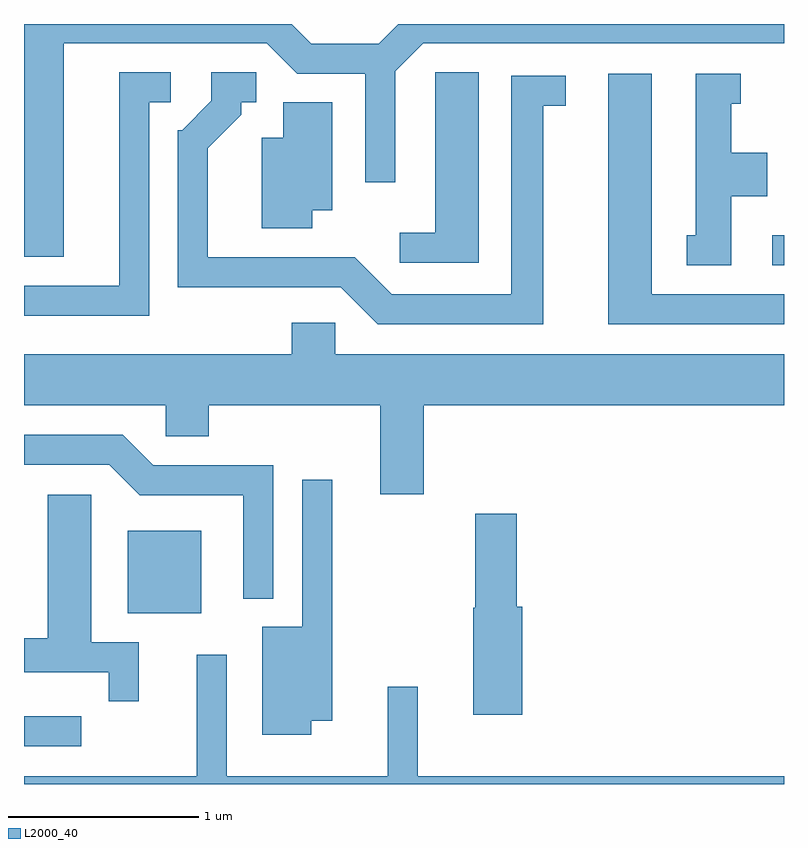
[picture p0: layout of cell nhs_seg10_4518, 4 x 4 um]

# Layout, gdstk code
import gdstk
lib = gdstk.Library(unit=1e-6, precision=1e-09)
def R(c, l, rs):  # rectangles x0, y0, x1, y1
    for r in rs: c.add(gdstk.rectangle(r[:2], r[2:], *l))
def P(c, l, *ps):  # polygons
    for p in ps: c.add(gdstk.Polygon(p, *l))
L2000_40 = (2000, 40)

nhs_seg10_4518 = lib.new_cell('nhs_seg10_4518')
R(nhs_seg10_4518, L2000_40, [(317.611,2178.721,317.913,2178.879), (318.156,2179.421,318.544,2179.854), (321.548,2181.251,321.611,2181.409)])
P(nhs_seg10_4518, L2000_40, [(317.819,2182.421),(318.889,2182.421),(319.049,2182.261),(319.406,2182.261),(319.406,2181.688),(319.564,2181.688),(319.564,2182.274),(319.712,2182.421),(321.611,2182.421),(321.611,2182.522),(319.582,2182.522),(319.479,2182.419),(319.122,2182.419),(319.019,2182.522),(317.611,2182.522),(317.611,2181.296),(317.819,2181.296)],
  [(318.269,2182.111),(318.383,2182.111),(318.383,2182.269),(318.111,2182.269),(318.111,2181.144),(317.611,2181.144),(317.611,2180.986),(318.269,2180.986)],
  [(320.004,2182.269),(319.776,2182.269),(319.776,2181.424),(319.588,2181.424),(319.588,2181.266),(320.004,2181.266)],
  [(320.344,2182.091),(320.463,2182.091),(320.463,2182.249),(320.176,2182.249),(320.176,2181.099),(319.547,2181.099),(319.352,2181.294),(318.579,2181.294),(318.579,2181.869),(318.754,2182.044),(318.754,2182.111),(318.833,2182.111),(318.833,2182.269),(318.596,2182.269),(318.596,2182.117),(318.444,2181.964),(318.421,2181.964),(318.421,2181.136),(319.279,2181.136),(319.474,2180.941),(320.344,2180.941)],
  [(321.334,2181.616),(321.524,2181.616),(321.524,2181.844),(321.334,2181.844),(321.334,2182.101),(321.383,2182.101),(321.383,2182.259),(321.146,2182.259),(321.146,2181.409),(321.098,2181.409),(321.098,2181.251),(321.334,2181.251)],
  [(321.611,2181.099),(320.914,2181.099),(320.914,2182.259),(320.686,2182.259),(320.686,2180.941),(321.611,2180.941)],
  [(319.129,2181.541),(319.234,2181.541),(319.234,2182.109),(318.976,2182.109),(318.976,2181.924),(318.861,2181.924),(318.861,2181.446),(319.129,2181.446)],
  [(319.714,2180.516),(321.611,2180.516),(321.611,2180.784),(319.249,2180.784),(319.249,2180.949),(319.021,2180.949),(319.021,2180.784),(317.611,2180.784),(317.611,2180.516),(318.356,2180.516),(318.356,2180.351),(318.584,2180.351),(318.584,2180.516),(319.486,2180.516),(319.486,2180.046),(319.714,2180.046)],
  [(318.924,2180.199),(318.292,2180.199),(318.132,2180.359),(317.611,2180.359),(317.611,2180.201),(318.059,2180.201),(318.219,2180.041),(318.766,2180.041),(318.766,2179.498),(318.924,2179.498)],
  [(319.124,2178.856),(319.234,2178.856),(319.234,2180.123),(319.076,2180.123),(319.076,2179.349),(318.866,2179.349),(318.866,2178.781),(319.124,2178.781)],
  [(318.214,2179.269),(317.964,2179.269),(317.964,2180.044),(317.736,2180.044),(317.736,2179.289),(317.611,2179.289),(317.611,2179.111),(318.056,2179.111),(318.056,2178.958),(318.214,2178.958)],
  [(320.234,2179.454),(320.204,2179.454),(320.204,2179.944),(319.986,2179.944),(319.986,2179.45),(319.976,2179.45),(319.976,2178.886),(320.234,2178.886)],
  [(321.611,2178.564),(319.684,2178.564),(319.684,2179.033),(319.526,2179.033),(319.526,2178.564),(318.679,2178.564),(318.679,2179.203),(318.521,2179.203),(318.521,2178.564),(317.611,2178.564),(317.611,2178.522),(321.611,2178.522)])

lib.write_gds('nhs_seg10_4518.gds')
